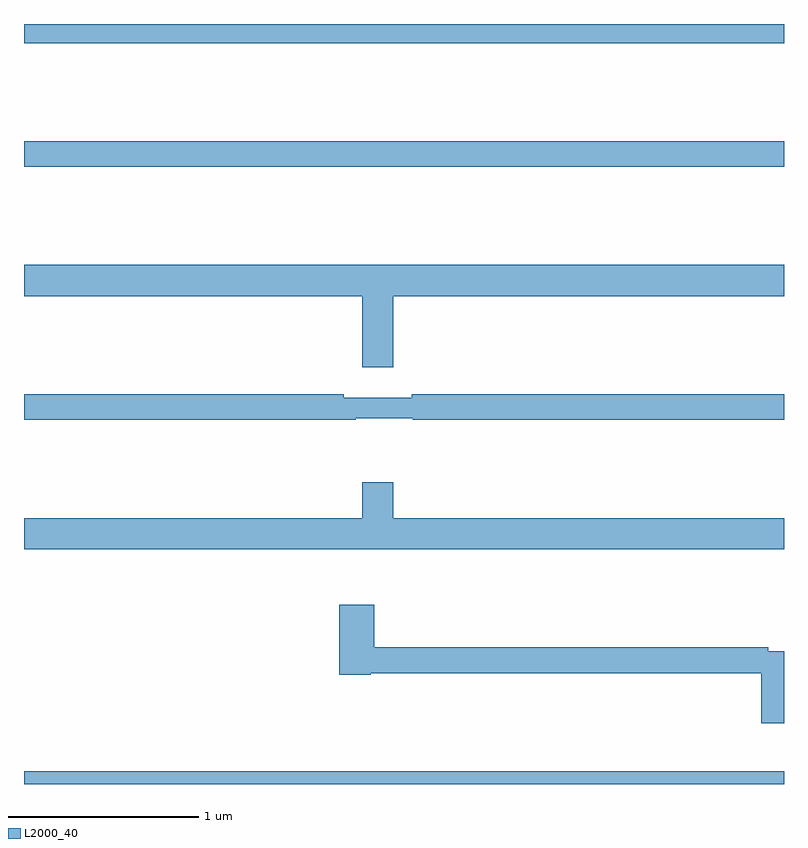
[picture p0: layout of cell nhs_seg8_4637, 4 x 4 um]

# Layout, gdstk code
import gdstk
lib = gdstk.Library(unit=1e-6, precision=1e-09)
def R(c, l, rs):  # rectangles x0, y0, x1, y1
    for r in rs: c.add(gdstk.rectangle(r[:2], r[2:], *l))
def P(c, l, *ps):  # polygons
    for p in ps: c.add(gdstk.Polygon(p, *l))
L2000_40 = (2000, 40)

nhs_seg8_4637 = lib.new_cell('nhs_seg8_4637')
R(nhs_seg8_4637, L2000_40, [(391,1145.9,395,1145.968), (391,1149.148,395,1149.284), (391,1149.8,395,1149.9)])
P(nhs_seg8_4637, L2000_40, [(392.944,1148.468),(395,1148.468),(395,1148.632),(391,1148.632),(391,1148.468),(392.78,1148.468),(392.78,1148.094),(392.944,1148.094)],
  [(392.746,1147.824),(393.046,1147.824),(393.046,1147.816),(395,1147.816),(395,1147.952),(393.04,1147.952),(393.04,1147.933),(392.684,1147.933),(392.684,1147.952),(391,1147.952),(391,1147.816),(392.746,1147.816)],
  [(395,1147.3),(392.944,1147.3),(392.944,1147.489),(392.78,1147.489),(392.78,1147.3),(391,1147.3),(391,1147.136),(395,1147.136)],
  [(395,1146.6),(394.916,1146.6),(394.916,1146.62),(392.843,1146.62),(392.843,1146.844),(392.66,1146.844),(392.66,1146.476),(392.826,1146.476),(392.826,1146.484),(394.88,1146.484),(394.88,1146.219),(395,1146.219)])

lib.write_gds('nhs_seg8_4637.gds')
